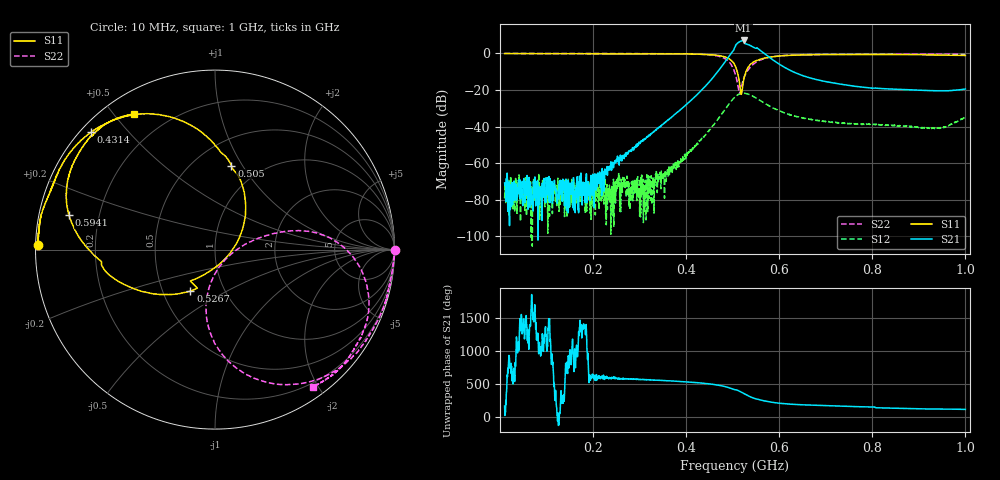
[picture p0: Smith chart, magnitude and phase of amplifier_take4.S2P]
!Agilent Technologies,E5071C,MY46101273,A.11.02
!Date: Mon Nov 20 15:49:34 2017
!Data & Calibration Information:
!Freq	S11:SOLT2(ON)	S21:SOLT2(ON)	S12:SOLT2(ON)	S22:SOLT2(ON)
!PortZ  Port1:50+j0  Port2:50+j0
!Above PortZ is port z conversion or system Z0 setting when saving the data.
!When reading, reference impedance value at option line is always used.
# Hz S dB R 50
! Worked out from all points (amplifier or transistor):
!   1601 points, 10 MHz to 1 GHz, reference 50 ohm
!   highest |S21| = 7.1 dB at 523.6 MHz (marker M1)
!   |S21| within 3 dB of that: 506 MHz to 539.5 MHz (33.51 MHz wide, 6.41 % of centre)
!   unconditionally stable (mu >= 1): 16.36 MHz to 22.71 MHz; 24.71 MHz to 26.44 MHz; 28.67 MHz to end of sweep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
!   at 174.6 MHz: K = 6094.01, MAG = -38.5 dB, |S12| = -76.2 dB
!   at 505 MHz: K = 3.72, MAG = 5.0 dB, |S12| = -23.8 dB
!   at 1 GHz: K = 7.85, MAG = -4.1 dB, |S12| = -35.1 dB
!   S11 on the Smith chart (normalised r, x): 10 MHz: 0.01, +0.01; 431.4 MHz: 0.03, +0.40; 505 MHz: 0.74, +0.90; 526.7 MHz: 0.69, -0.34; 594.1 MHz: 0.09, +0.12; 1 GHz: 0.08, +0.56
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1e7  -0.10 178.7  -70.79 164.2  -79.22 33.2  0.02 -0.3
2.299375e7  -0.09 177.9  -71.87 27.2  -66.99 -146.6  0.01 -1.8
1.752062e8  -0.14 166.7  -74.98 -130.2  -76.15 117.2  -0.06 -13.4
2.197562e8  -0.21 162.9  -62.94 -115.0  -74.20 139.0  -0.06 -17.2
2.64925e8  -0.24 158.9  -55.65 -137.2  -70.59 115.9  -0.08 -21.3
3.063812e8  -0.23 155.0  -47.53 -153.5  -73.63 166.0  -0.11 -25.5
3.404125e8  -0.23 151.5  -40.62 -165.9  -68.61 151.3  -0.15 -29.5
4.313688e8  -0.44 136.5  -20.56 154.3  -47.45 108.3  -0.45 -45.7
4.82725e8  -1.87 111.7  -4.91 101.2  -30.96 58.7  -2.75 -74.9
4.944812e8  -3.32 98.7  -0.73 77.2  -26.85 33.5  -5.28 -88.6
5.05e8  -6.44 79.0  3.46 51.8  -23.84 2.5  -10.78 -99.4
5.130438e8  -13.50 40.9  6.11 35.0  -22.37 -24.2  -20.46 -73.0
5.1985e8  -21.04 -78.4  6.92 8.8  -21.81 -47.2  -17.12 4.5
5.235625e8  -14.62 -121.3  7.09 -5.2  -21.78 -59.3  -13.74 12.5
5.266562e8  -11.42 -120.6  5.33 -16.1  -21.85 -69.1  -11.77 14.7
5.3965e8  -5.64 -156.8  4.07 -60.4  -22.89 -104.8  -7.00 13.6
5.582125e8  -3.31 -178.2  1.88 -101.1  -25.66 -142.5  -3.68 5.1
5.941e8  -1.56 166.7  -4.88 -147.6  -30.61 178.9  -1.48 -10.1
6.702062e8  -0.74 151.5  -13.66 177.7  -36.22 148.0  -0.58 -25.3
8.354125e8  -0.59 134.8  -19.42 133.7  -39.24 117.2  -0.35 -41.8
9.4555e8  -0.89 124.7  -20.46 117.7  -40.80 126.8  -0.46 -50.6
1e9  -1.11 120.9  -19.42 113.9  -35.05 135.5  -0.54 -54.6
